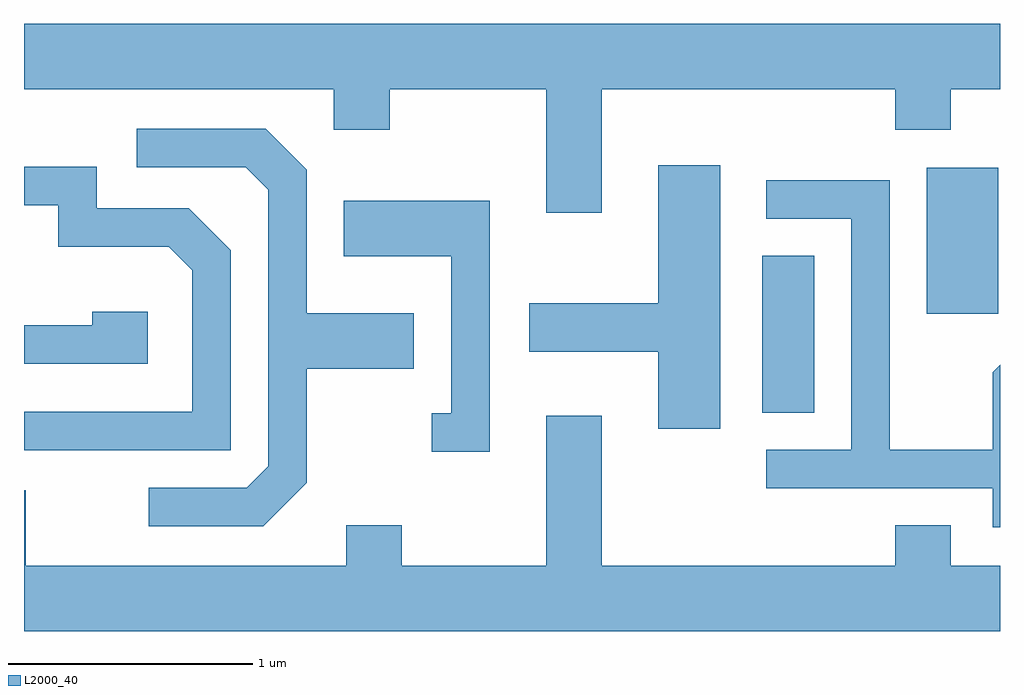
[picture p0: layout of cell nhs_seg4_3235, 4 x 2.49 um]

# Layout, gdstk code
import gdstk
lib = gdstk.Library(unit=1e-6, precision=1e-09)
def R(c, l, rs):  # rectangles x0, y0, x1, y1
    for r in rs: c.add(gdstk.rectangle(r[:2], r[2:], *l))
def P(c, l, *ps):  # polygons
    for p in ps: c.add(gdstk.Polygon(p, *l))
L2000_40 = (2000, 40)

nhs_seg4_3235 = lib.new_cell('nhs_seg4_3235')
R(nhs_seg4_3235, L2000_40, [(282.636,1333.371,282.849,1334.014), (283.311,1333.776,283.604,1334.374)])
P(nhs_seg4_3235, L2000_40, [(281.979,1334.696),(283.181,1334.696),(283.181,1334.531),(283.409,1334.531),(283.409,1334.696),(283.611,1334.696),(283.611,1334.964),(279.611,1334.964),(279.611,1334.696),(280.881,1334.696),(280.881,1334.531),(281.109,1334.531),(281.109,1334.696),(281.751,1334.696),(281.751,1334.191),(281.979,1334.191)],
  [(280.769,1333.084),(280.769,1333.551),(281.209,1333.551),(281.209,1333.779),(280.769,1333.779),(280.769,1334.367),(280.602,1334.534),(280.073,1334.534),(280.073,1334.376),(280.519,1334.376),(280.611,1334.284),(280.611,1333.152),(280.524,1333.064),(280.123,1333.064),(280.123,1332.906),(280.592,1332.906)],
  [(282.464,1334.384),(282.211,1334.384),(282.211,1333.819),(281.681,1333.819),(281.681,1333.621),(282.211,1333.621),(282.211,1333.306),(282.464,1333.306)],
  [(280.459,1334.037),(280.287,1334.209),(279.909,1334.209),(279.909,1334.379),(279.611,1334.379),(279.611,1334.221),(279.751,1334.221),(279.751,1334.051),(280.204,1334.051),(280.301,1333.954),(280.301,1333.374),(279.611,1333.374),(279.611,1333.216),(280.459,1333.216)],
  [(283.611,1333.567),(283.581,1333.537),(283.581,1333.219),(283.159,1333.219),(283.159,1334.324),(282.653,1334.324),(282.653,1334.166),(283.001,1334.166),(283.001,1333.219),(282.653,1333.219),(282.653,1333.061),(283.581,1333.061),(283.581,1332.901),(283.611,1332.901)],
  [(281.519,1334.239),(280.921,1334.239),(280.921,1334.011),(281.361,1334.011),(281.361,1333.369),(281.283,1333.369),(281.283,1333.211),(281.519,1333.211)],
  [(280.119,1333.784),(279.891,1333.784),(279.891,1333.729),(279.611,1333.729),(279.611,1333.571),(280.119,1333.571)],
  [(283.611,1332.744),(283.409,1332.744),(283.409,1332.909),(283.181,1332.909),(283.181,1332.744),(281.979,1332.744),(281.979,1333.359),(281.751,1333.359),(281.751,1332.744),(281.159,1332.744),(281.159,1332.909),(280.931,1332.909),(280.931,1332.744),(279.619,1332.744),(279.619,1333.054),(279.611,1333.054),(279.611,1332.476),(283.611,1332.476)])

lib.write_gds('nhs_seg4_3235.gds')
